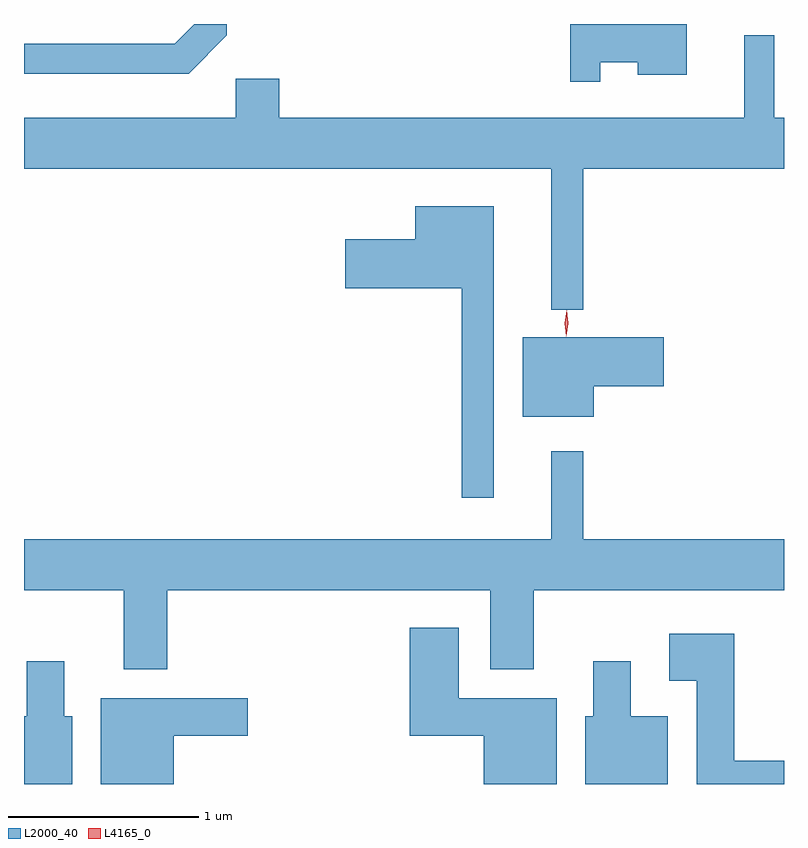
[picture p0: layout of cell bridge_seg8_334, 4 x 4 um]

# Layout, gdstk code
import gdstk
lib = gdstk.Library(unit=1e-6, precision=1e-09)
def P(c, l, *ps):  # polygons
    for p in ps: c.add(gdstk.Polygon(p, *l))
L2000_40 = (2000, 40)
L4165_0 = (4165, 0)

bridge_seg8_334 = lib.new_cell('bridge_seg8_334')
P(bridge_seg8_334, L2000_40, [(883.749,1910.236),(883.946,1910.236),(883.946,1910.171),(884.204,1910.171),(884.204,1910.437),(883.591,1910.437),(883.591,1910.133),(883.749,1910.133)],
  [(881.784,1910.379),(881.784,1910.437),(881.611,1910.437),(881.509,1910.334),(880.716,1910.334),(880.716,1910.176),(881.582,1910.176)],
  [(883.659,1909.676),(884.716,1909.676),(884.716,1909.944),(884.664,1909.944),(884.664,1910.378),(884.506,1910.378),(884.506,1909.944),(882.059,1909.944),(882.059,1910.149),(881.831,1910.149),(881.831,1909.944),(880.716,1909.944),(880.716,1909.676),(883.491,1909.676),(883.491,1908.933),(883.659,1908.933)],
  [(883.189,1909.479),(882.776,1909.479),(882.776,1909.304),(882.406,1909.304),(882.406,1909.046),(883.021,1909.046),(883.021,1907.943),(883.189,1907.943)],
  [(883.714,1908.531),(884.084,1908.531),(884.084,1908.789),(883.341,1908.789),(883.341,1908.371),(883.714,1908.371)],
  [(881.469,1907.456),(883.171,1907.456),(883.171,1907.041),(883.399,1907.041),(883.399,1907.456),(884.716,1907.456),(884.716,1907.724),(883.659,1907.724),(883.659,1908.188),(883.491,1908.188),(883.491,1907.724),(880.716,1907.724),(880.716,1907.456),(881.241,1907.456),(881.241,1907.041),(881.469,1907.041)],
  [(883.519,1906.889),(883.004,1906.889),(883.004,1907.259),(882.746,1907.259),(882.746,1906.691),(883.136,1906.691),(883.136,1906.437),(883.519,1906.437)],
  [(884.716,1906.559),(884.454,1906.559),(884.454,1907.229),(884.111,1907.229),(884.111,1906.981),(884.256,1906.981),(884.256,1906.437),(884.716,1906.437)],
  [(884.104,1906.794),(883.909,1906.794),(883.909,1907.084),(883.711,1907.084),(883.711,1906.794),(883.671,1906.794),(883.671,1906.437),(884.104,1906.437)],
  [(880.969,1906.794),(880.929,1906.794),(880.929,1907.084),(880.731,1907.084),(880.731,1906.794),(880.716,1906.794),(880.716,1906.437),(880.969,1906.437)],
  [(881.504,1906.691),(881.894,1906.691),(881.894,1906.889),(881.121,1906.889),(881.121,1906.437),(881.504,1906.437)])
P(bridge_seg8_334, L4165_0, [(883.57,1908.794),(883.57,1908.794),(883.561,1908.862),(883.572,1908.93),(883.572,1908.93),(883.573,1908.93),(883.581,1908.862),(883.571,1908.794)],
  [(883.57,1908.8),(883.57,1908.801),(883.561,1908.864),(883.572,1908.926),(883.572,1908.927),(883.573,1908.926),(883.581,1908.863),(883.571,1908.801)])

lib.write_gds('bridge_seg8_334.gds')
